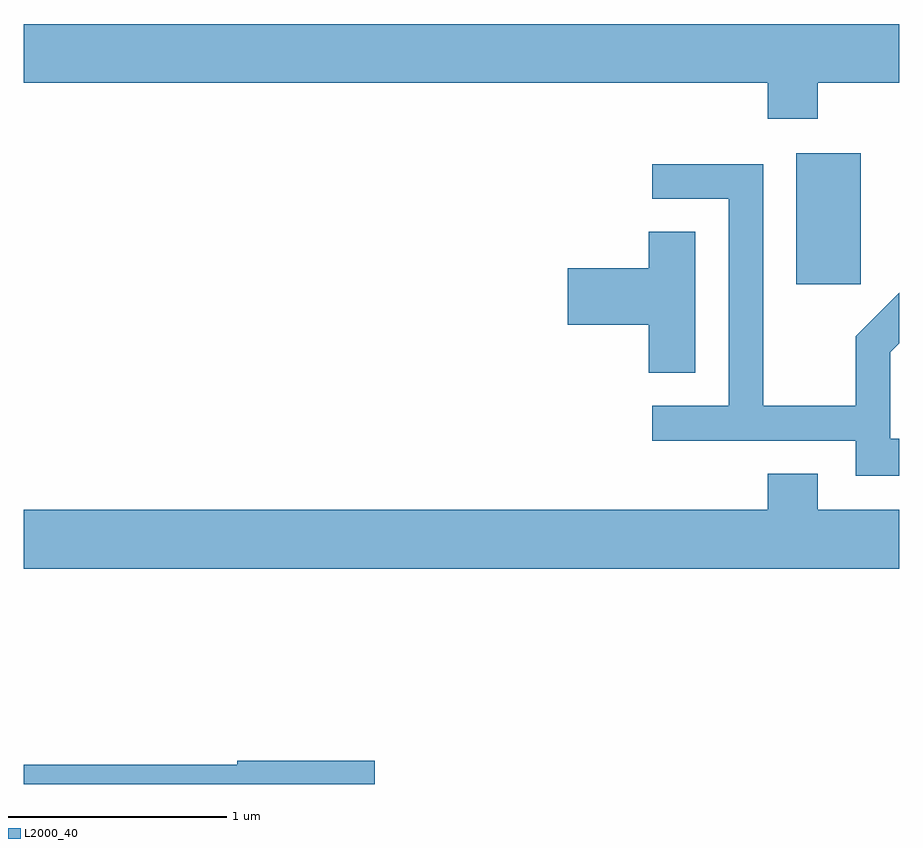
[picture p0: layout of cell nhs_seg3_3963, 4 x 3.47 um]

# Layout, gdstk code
import gdstk
lib = gdstk.Library(unit=1e-6, precision=1e-09)
def R(c, l, rs):  # rectangles x0, y0, x1, y1
    for r in rs: c.add(gdstk.rectangle(r[:2], r[2:], *l))
def P(c, l, *ps):  # polygons
    for p in ps: c.add(gdstk.Polygon(p, *l))
L2000_40 = (2000, 40)

nhs_seg3_3963 = lib.new_cell('nhs_seg3_3963')
R(nhs_seg3_3963, L2000_40, [(305.141,1156.176,305.434,1156.774)])
P(nhs_seg3_3963, L2000_40, [(305.239,1157.096),(305.611,1157.096),(305.611,1157.364),(301.611,1157.364),(301.611,1157.096),(305.011,1157.096),(305.011,1156.931),(305.239,1156.931)],
  [(305.611,1155.469),(305.569,1155.469),(305.569,1155.864),(305.611,1155.906),(305.611,1156.137),(305.411,1155.937),(305.411,1155.619),(304.989,1155.619),(304.989,1156.724),(304.483,1156.724),(304.483,1156.566),(304.831,1156.566),(304.831,1155.619),(304.483,1155.619),(304.483,1155.461),(305.411,1155.461),(305.411,1155.301),(305.611,1155.301)],
  [(304.679,1156.414),(304.466,1156.414),(304.466,1156.249),(304.096,1156.249),(304.096,1155.991),(304.466,1155.991),(304.466,1155.771),(304.679,1155.771)],
  [(305.611,1155.144),(305.239,1155.144),(305.239,1155.309),(305.011,1155.309),(305.011,1155.144),(301.611,1155.144),(301.611,1154.876),(305.611,1154.876)],
  [(303.214,1153.999),(302.586,1153.999),(302.586,1153.979),(301.611,1153.979),(301.611,1153.892),(303.214,1153.892)])

lib.write_gds('nhs_seg3_3963.gds')
